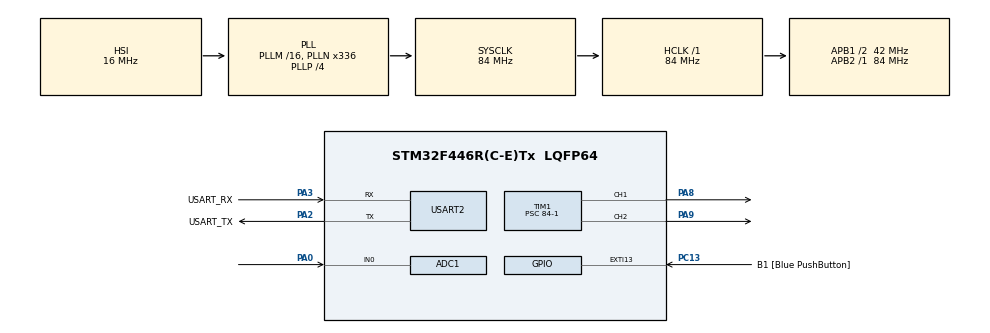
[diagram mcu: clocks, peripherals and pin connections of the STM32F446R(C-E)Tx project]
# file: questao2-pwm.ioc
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ADC1.Channel-0\#ChannelRegularConversion=ADC_CHANNEL_0
ADC1.NbrOfConversionFlag=1
ADC1.Rank-0\#ChannelRegularConversion=1
ADC1.SamplingTime-0\#ChannelRegularConversion=ADC_SAMPLETIME_3CYCLES
ADC1.master=1
Mcu.Family=STM32F4
Mcu.Name=STM32F446R(C-E)Tx
Mcu.Package=LQFP64
NVIC.PriorityGroup=NVIC_PRIORITYGROUP_0
PA0-WKUP.Signal=ADCx_IN0
PA14.GPIO_Label=TCK
PA14.Signal=SYS_JTCK-SWCLK
PA2.GPIO_Label=USART_TX
PA2.Mode=Asynchronous
PA2.Signal=USART2_TX
PA3.GPIO_Label=USART_RX
PA3.Mode=Asynchronous
PA3.Signal=USART2_RX
PA8.Signal=S_TIM1_CH1
PA9.Signal=S_TIM1_CH2
PB3.GPIO_Label=SWO
PB3.Signal=SYS_JTDO-SWO
PC13.GPIO_Label=B1 [Blue PushButton]
PC13.GPIO_ModeDefaultEXTI=GPIO_MODE_IT_FALLING
PC13.Signal=GPXTI13
PC14-OSC32_IN.Mode=LSE-External-Oscillator
PC14-OSC32_IN.Signal=RCC_OSC32_IN
PC15-OSC32_OUT.Mode=LSE-External-Oscillator
PC15-OSC32_OUT.Signal=RCC_OSC32_OUT
PH0-OSC_IN.Mode=HSE-External-Oscillator
PH0-OSC_IN.Signal=RCC_OSC_IN
PH1-OSC_OUT.Mode=HSE-External-Oscillator
PH1-OSC_OUT.Signal=RCC_OSC_OUT
ProjectManager.HeapSize=0x200
ProjectManager.StackSize=0x400
ProjectManager.TargetToolchain=STM32CubeIDE
RCC.48MHZClocksFreq_Value=84000000
RCC.AHBFreq_Value=84000000
RCC.APB1CLKDivider=RCC_HCLK_DIV2
RCC.APB1Freq_Value=42000000
RCC.APB1TimFreq_Value=84000000
RCC.APB2Freq_Value=84000000
RCC.APB2TimFreq_Value=84000000
RCC.CortexFreq_Value=84000000
RCC.FLatency-AdvancedSettings=FLASH_LATENCY_2
RCC.HCLKFreq_Value=84000000
RCC.HSE_VALUE=8000000
RCC.HSI_VALUE=16000000
RCC.PLLN=336
RCC.PLLP=RCC_PLLP_DIV4
RCC.SYSCLKFreq_VALUE=84000000
RCC.SYSCLKSource=RCC_SYSCLKSOURCE_PLLCLK
RCC.USBFreq_Value=168000000
RCC.VCOOutputFreq_Value=336000000
SH.ADCx_IN0.0=ADC1_IN0,IN0
SH.S_TIM1_CH1.0=TIM1_CH1,PWM Generation1 CH1
SH.S_TIM1_CH2.0=TIM1_CH2,PWM Generation2 CH2
TIM1.Channel-PWM\ Generation1\ CH1=TIM_CHANNEL_1
TIM1.Channel-PWM\ Generation2\ CH2=TIM_CHANNEL_2
TIM1.Period=1000-1
TIM1.Prescaler=84-1
USART2.VirtualMode=VM_ASYNC
VP_TIM1_VS_ClockSourceINT.Mode=Internal
board=NUCLEO-F446RE

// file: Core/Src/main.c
/* USER CODE BEGIN Header */
/**
  ******************************************************************************
  * @file           : main.c
  * @brief          : Main program body
  ******************************************************************************
  * @attention
  *
  * Copyright (c) 2024 STMicroelectronics.
  * All rights reserved.
  *
  * This software is licensed under terms that can be found in the LICENSE file
  * in the root directory of this software component.
  * If no LICENSE file comes with this software, it is provided AS-IS.
  *
  ******************************************************************************
  */
/* USER CODE END Header */
#include "main.h"

ADC_HandleTypeDef hadc1;

TIM_HandleTypeDef htim1;

UART_HandleTypeDef huart2;

/* USER CODE BEGIN PV */
uint16_t adc_value=0;
char console_msg[64];
uint32_t vref = 3.3;
/* USER CODE END PV */

void SystemClock_Config(void);
static void MX_GPIO_Init(void);
static void MX_TIM1_Init(void);
static void MX_USART2_UART_Init(void);
static void MX_ADC1_Init(void);

int main(void)
{

  /* MCU Configuration--------------------------------------------------------*/

  /* Reset of all peripherals, Initializes the Flash interface and the Systick. */
  HAL_Init();

  /* Configure the system clock */
  SystemClock_Config();

  /* Initialize all configured peripherals */
  MX_GPIO_Init();
  MX_TIM1_Init();
  MX_USART2_UART_Init();
  MX_ADC1_Init();
  /* USER CODE BEGIN 2 */

  HAL_TIM_PWM_Start(&htim1, TIM_CHANNEL_1);
  HAL_TIM_PWM_Start(&htim1, TIM_CHANNEL_2);
  /* USER CODE END 2 */

  /* Infinite loop */
  while (1)
  {

    /* USER CODE BEGIN 3 */
	  HAL_ADC_Start(&hadc1);
	  HAL_ADC_PollForConversion(&hadc1, 20);
	  adc_value = HAL_ADC_GetValue(&hadc1);
	  // Mapeia o valor do ADC (0 a 4095) para a frequência desejada (1 kHz a 10 kHz)
	  int min_freq = 1000;  // Frequência mínima (1 kHz)
	  int max_freq = 10000; // Frequência máxima (10 kHz)
	  uint32_t pwm_frequency = min_freq + ((float)adc_value / 4095.0) * (max_freq - min_freq);

	  // Calcula o novo valor de período do Timer
	  uint32_t timer_period = (SystemCoreClock / pwm_frequency) - 1;

	  // Atualiza o período do Timer para ajustar a frequência PWM
	  __HAL_TIM_SET_AUTORELOAD(&htim1, timer_period);

	  // Atualiza a largura de pulso do PWM (duty cycle) para os canais
	  uint32_t vin_mv = (adc_value * 3300) / 4096;
	  __HAL_TIM_SET_COMPARE(&htim1, TIM_CHANNEL_1, vin_mv);  // Duty cycle 50%
	  __HAL_TIM_SET_COMPARE(&htim1, TIM_CHANNEL_2, 750);     // Duty cycle 75%

	  // Transmissão UART (opcional, para debug)
	  sprintf(console_msg, "Value ADC: %hu; Vin: %lu mV; PWM Frequency: %lu Hz\r\n", adc_value, vin_mv, pwm_frequency);
	  HAL_UART_Transmit(&huart2, (uint8_t *)console_msg, strlen(console_msg), HAL_MAX_DELAY);
	  HAL_Delay(1000);

  }
  /* USER CODE END 3 */
}

void SystemClock_Config(void)
{
  RCC_OscInitTypeDef RCC_OscInitStruct = {0};
  RCC_ClkInitTypeDef RCC_ClkInitStruct = {0};

  /** Configure the main internal regulator output voltage
  */
  __HAL_RCC_PWR_CLK_ENABLE();
  __HAL_PWR_VOLTAGESCALING_CONFIG(PWR_REGULATOR_VOLTAGE_SCALE3);

  /** Initializes the RCC Oscillators according to the specified parameters
  * in the RCC_OscInitTypeDef structure.
  */
  RCC_OscInitStruct.OscillatorType = RCC_OSCILLATORTYPE_HSI;
  RCC_OscInitStruct.HSIState = RCC_HSI_ON;
  RCC_OscInitStruct.HSICalibrationValue = RCC_HSICALIBRATION_DEFAULT;
  RCC_OscInitStruct.PLL.PLLState = RCC_PLL_ON;
  RCC_OscInitStruct.PLL.PLLSource = RCC_PLLSOURCE_HSI;
  RCC_OscInitStruct.PLL.PLLM = 16;
  RCC_OscInitStruct.PLL.PLLN = 336;
  RCC_OscInitStruct.PLL.PLLP = RCC_PLLP_DIV4;
  RCC_OscInitStruct.PLL.PLLQ = 2;
  RCC_OscInitStruct.PLL.PLLR = 2;
  if (HAL_RCC_OscConfig(&RCC_OscInitStruct) != HAL_OK)
  {
    Error_Handler();
  }

  /** Initializes the CPU, AHB and APB buses clocks
  */
  RCC_ClkInitStruct.ClockType = RCC_CLOCKTYPE_HCLK|RCC_CLOCKTYPE_SYSCLK
                              |RCC_CLOCKTYPE_PCLK1|RCC_CLOCKTYPE_PCLK2;
  RCC_ClkInitStruct.SYSCLKSource = RCC_SYSCLKSOURCE_PLLCLK;
  RCC_ClkInitStruct.AHBCLKDivider = RCC_SYSCLK_DIV1;
  RCC_ClkInitStruct.APB1CLKDivider = RCC_HCLK_DIV2;
  RCC_ClkInitStruct.APB2CLKDivider = RCC_HCLK_DIV1;

  if (HAL_RCC_ClockConfig(&RCC_ClkInitStruct, FLASH_LATENCY_2) != HAL_OK)
  {
    Error_Handler();
  }
}

static void MX_ADC1_Init(void)
{

  ADC_ChannelConfTypeDef sConfig = {0};

  /** Configure the global features of the ADC (Clock, Resolution, Data Alignment and number of conversion)
  */
  hadc1.Instance = ADC1;
  hadc1.Init.ClockPrescaler = ADC_CLOCK_SYNC_PCLK_DIV4;
  hadc1.Init.Resolution = ADC_RESOLUTION_12B;
  hadc1.Init.ScanConvMode = DISABLE;
  hadc1.Init.ContinuousConvMode = DISABLE;
  hadc1.Init.DiscontinuousConvMode = DISABLE;
  hadc1.Init.ExternalTrigConvEdge = ADC_EXTERNALTRIGCONVEDGE_NONE;
  hadc1.Init.ExternalTrigConv = ADC_SOFTWARE_START;
  hadc1.Init.DataAlign = ADC_DATAALIGN_RIGHT;
  hadc1.Init.NbrOfConversion = 1;
  hadc1.Init.DMAContinuousRequests = DISABLE;
  hadc1.Init.EOCSelection = ADC_EOC_SINGLE_CONV;
  if (HAL_ADC_Init(&hadc1) != HAL_OK)
  {
    Error_Handler();
  }

  /** Configure for the selected ADC regular channel its corresponding rank in the sequencer and its sample time.
  */
  sConfig.Channel = ADC_CHANNEL_0;
  sConfig.Rank = 1;
  sConfig.SamplingTime = ADC_SAMPLETIME_3CYCLES;
  if (HAL_ADC_ConfigChannel(&hadc1, &sConfig) != HAL_OK)
  {
    Error_Handler();
  }

}

static void MX_TIM1_Init(void)
{

  TIM_ClockConfigTypeDef sClockSourceConfig = {0};
  TIM_MasterConfigTypeDef sMasterConfig = {0};
  TIM_OC_InitTypeDef sConfigOC = {0};
  TIM_BreakDeadTimeConfigTypeDef sBreakDeadTimeConfig = {0};

  htim1.Instance = TIM1;
  htim1.Init.Prescaler = 84-1;
  htim1.Init.CounterMode = TIM_COUNTERMODE_UP;
  htim1.Init.Period = 1000-1;
  htim1.Init.ClockDivision = TIM_CLOCKDIVISION_DIV1;
  htim1.Init.RepetitionCounter = 0;
  htim1.Init.AutoReloadPreload = TIM_AUTORELOAD_PRELOAD_DISABLE;
  if (HAL_TIM_Base_Init(&htim1) != HAL_OK)
  {
    Error_Handler();
  }
  sClockSourceConfig.ClockSource = TIM_CLOCKSOURCE_INTERNAL;
  if (HAL_TIM_ConfigClockSource(&htim1, &sClockSourceConfig) != HAL_OK)
  {
    Error_Handler();
  }
  if (HAL_TIM_PWM_Init(&htim1) != HAL_OK)
  {
    Error_Handler();
  }
  sMasterConfig.MasterOutputTrigger = TIM_TRGO_RESET;
  sMasterConfig.MasterSlaveMode = TIM_MASTERSLAVEMODE_DISABLE;
  if (HAL_TIMEx_MasterConfigSynchronization(&htim1, &sMasterConfig) != HAL_OK)
  {
    Error_Handler();
  }
  sConfigOC.OCMode = TIM_OCMODE_PWM1;
  sConfigOC.Pulse = 0;
  sConfigOC.OCPolarity = TIM_OCPOLARITY_HIGH;
  sConfigOC.OCNPolarity = TIM_OCNPOLARITY_HIGH;
  sConfigOC.OCFastMode = TIM_OCFAST_DISABLE;
  sConfigOC.OCIdleState = TIM_OCIDLESTATE_RESET;
  sConfigOC.OCNIdleState = TIM_OCNIDLESTATE_RESET;
  if (HAL_TIM_PWM_ConfigChannel(&htim1, &sConfigOC, TIM_CHANNEL_1) != HAL_OK)
  {
    Error_Handler();
  }
  if (HAL_TIM_PWM_ConfigChannel(&htim1, &sConfigOC, TIM_CHANNEL_2) != HAL_OK)
  {
    Error_Handler();
  }
  sBreakDeadTimeConfig.OffStateRunMode = TIM_OSSR_DISABLE;
  sBreakDeadTimeConfig.OffStateIDLEMode = TIM_OSSI_DISABLE;
  sBreakDeadTimeConfig.LockLevel = TIM_LOCKLEVEL_OFF;
  sBreakDeadTimeConfig.DeadTime = 0;
  sBreakDeadTimeConfig.BreakState = TIM_BREAK_DISABLE;
  sBreakDeadTimeConfig.BreakPolarity = TIM_BREAKPOLARITY_HIGH;
  sBreakDeadTimeConfig.AutomaticOutput = TIM_AUTOMATICOUTPUT_DISABLE;
  if (HAL_TIMEx_ConfigBreakDeadTime(&htim1, &sBreakDeadTimeConfig) != HAL_OK)
  {
    Error_Handler();
  }
  HAL_TIM_MspPostInit(&htim1);

}

static void MX_USART2_UART_Init(void)
{

  huart2.Instance = USART2;
  huart2.Init.BaudRate = 115200;
  huart2.Init.WordLength = UART_WORDLENGTH_8B;
  huart2.Init.StopBits = UART_STOPBITS_1;
  huart2.Init.Parity = UART_PARITY_NONE;
  huart2.Init.Mode = UART_MODE_TX_RX;
  huart2.Init.HwFlowCtl = UART_HWCONTROL_NONE;
  huart2.Init.OverSampling = UART_OVERSAMPLING_16;
  if (HAL_UART_Init(&huart2) != HAL_OK)
  {
    Error_Handler();
  }

}

static void MX_GPIO_Init(void)
{
  GPIO_InitTypeDef GPIO_InitStruct = {0};

  /* GPIO Ports Clock Enable */
  __HAL_RCC_GPIOC_CLK_ENABLE();
  __HAL_RCC_GPIOH_CLK_ENABLE();
  __HAL_RCC_GPIOA_CLK_ENABLE();
  __HAL_RCC_GPIOB_CLK_ENABLE();

  /*Configure GPIO pin : B1_Pin */
  GPIO_InitStruct.Pin = B1_Pin;
  GPIO_InitStruct.Mode = GPIO_MODE_IT_FALLING;
  GPIO_InitStruct.Pull = GPIO_NOPULL;
  HAL_GPIO_Init(B1_GPIO_Port, &GPIO_InitStruct);

}

void Error_Handler(void)
{
  __disable_irq();
  while (1)
  {
  }
}
